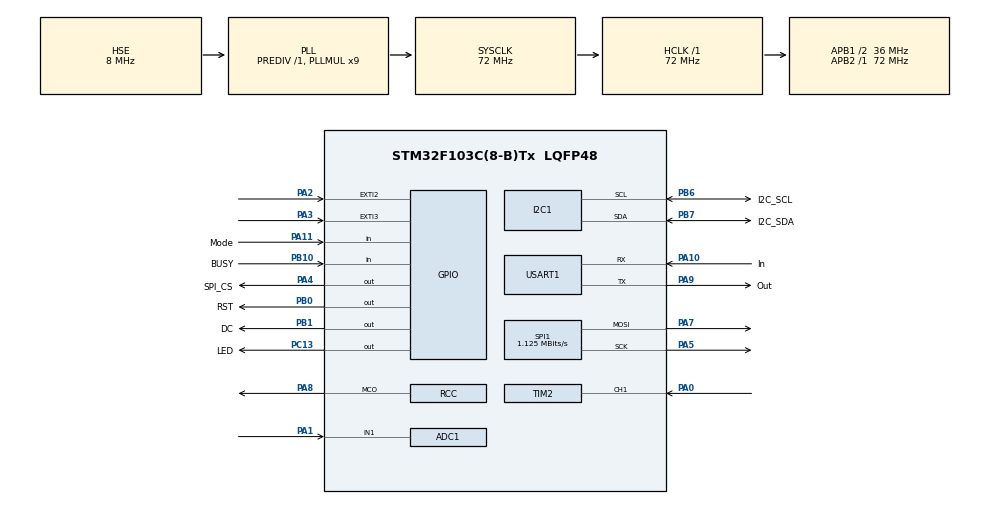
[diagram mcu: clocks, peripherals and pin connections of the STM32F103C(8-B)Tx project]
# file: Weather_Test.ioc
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Mcu.Family=STM32F1
NVIC.ADC1_2_IRQn=true\:0\:0\:false\:false\:true\:true\:true
PA2.GPIO_PuPd=GPIO_PULLDOWN
Dma.ADC1.4.Priority=DMA_PRIORITY_LOW
TIM2.Channel-Input_Capture1_from_TI1=TIM_CHANNEL_1
NVIC.DMA1_Channel5_IRQn=true\:0\:0\:false\:false\:true\:false\:true
SPI1.VirtualType=VM_MASTER
ADC1.ContinuousConvMode=ENABLE
Dma.USART1_TX.3.MemInc=DMA_MINC_ENABLE
Dma.USART1_TX.3.MemDataAlignment=DMA_MDATAALIGN_BYTE
Dma.I2C1_TX.1.Mode=DMA_NORMAL
Dma.USART1_RX.2.Instance=DMA1_Channel5
Dma.USART1_TX.3.Direction=DMA_MEMORY_TO_PERIPH
PA3.GPIO_PuPd=GPIO_PULLDOWN
NVIC.EXTI3_IRQn=true\:6\:0\:true\:false\:true\:true\:true
PB0.GPIO_Label=RST
PB6.GPIO_Label=I2C_SCL
PA11.GPIO_PuPd=GPIO_NOPULL
Dma.ADC1.4.PeriphInc=DMA_PINC_DISABLE
RCC.SYSCLKSource=RCC_SYSCLKSOURCE_PLLCLK
ProjectManager.StackSize=0x400
PD1-OSC_OUT.Signal=RCC_OSC_OUT
Dma.I2C1_TX.1.Direction=DMA_MEMORY_TO_PERIPH
SPI1.Direction=SPI_DIRECTION_2LINES
RCC.HCLKFreq_Value=72000000
RCC.APB2TimFreq_Value=72000000
TIM3.Period=10000
PB6.Signal=I2C1_SCL
Dma.USART1_TX.3.Mode=DMA_NORMAL
Dma.I2C1_RX.0.PeriphDataAlignment=DMA_PDATAALIGN_BYTE
PB6.Mode=I2C
Dma.I2C1_TX.1.PeriphInc=DMA_PINC_DISABLE
SPI1.CalculateBaudRate=1.125 MBits/s
Dma.ADC1.4.Instance=DMA1_Channel1
RCC.AHBFreq_Value=72000000
Dma.I2C1_RX.0.Priority=DMA_PRIORITY_LOW
Dma.I2C1_RX.0.Mode=DMA_NORMAL
RCC.PLLMUL=RCC_PLL_MUL9
PC14-OSC32_IN.Mode=LSE-External-Oscillator
PA14.Mode=Serial_Wire
TIM3.Prescaler=7199
PB1.GPIO_Label=DC
Dma.USART1_TX.3.PeriphInc=DMA_PINC_DISABLE
NVIC.TIM2_IRQn=true\:0\:0\:false\:false\:true\:true\:true
PA10.GPIO_Label=In
PB7.Signal=I2C1_SDA
PA8.Signal=RCC_MCO
Dma.I2C1_RX.0.Direction=DMA_PERIPH_TO_MEMORY
Dma.USART1_TX.3.Instance=DMA1_Channel4
PB7.GPIO_Label=I2C_SDA
Mcu.Package=LQFP48
TIM2.Prescaler=7199
PB1.Signal=GPIO_Output
PA10.Signal=USART1_RX
Dma.ADC1.4.MemInc=DMA_MINC_ENABLE
SH.ADCx_IN1.0=ADC1_IN1,IN1
NVIC.EXTI2_IRQn=true\:6\:0\:true\:false\:true\:true\:true
Dma.Request2=USART1_RX
Dma.Request1=I2C1_TX
RCC.APB1TimFreq_Value=72000000
Dma.Request4=ADC1
Dma.Request3=USART1_TX
NVIC.DMA1_Channel4_IRQn=true\:0\:0\:false\:false\:true\:false\:true
NVIC.USART1_IRQn=true\:5\:0\:true\:false\:true\:true\:true
Dma.Request0=I2C1_RX
SPI1.BaudRatePrescaler=SPI_BAUDRATEPRESCALER_64
PA4.GPIO_Label=SPI_CS
VP_TIM3_VS_ClockSourceINT.Mode=Internal
Dma.USART1_RX.2.MemDataAlignment=DMA_MDATAALIGN_BYTE
PA3.Signal=GPXTI3
PA5.Mode=TX_Only_Simplex_Unidirect_Master
Dma.I2C1_TX.1.PeriphDataAlignment=DMA_PDATAALIGN_BYTE
RCC.PLLSourceVirtual=RCC_PLLSOURCE_HSE
PC15-OSC32_OUT.Mode=LSE-External-Oscillator
NVIC.DMA1_Channel6_IRQn=true\:0\:0\:false\:false\:true\:false\:true
Dma.I2C1_RX.0.PeriphInc=DMA_PINC_DISABLE
Dma.I2C1_RX.0.MemDataAlignment=DMA_MDATAALIGN_BYTE
PA7.Mode=TX_Only_Simplex_Unidirect_Master
PD1-OSC_OUT.Mode=HSE-External-Oscillator
PA10.Mode=Asynchronous
PA9.GPIO_Label=Out
PC13-TAMPER-RTC.Signal=GPIO_Output
PA11.GPIO_Label=Mode
Dma.ADC1.4.PeriphDataAlignment=DMA_PDATAALIGN_HALFWORD
PD0-OSC_IN.Signal=RCC_OSC_IN
RCC.APB1CLKDivider=RCC_HCLK_DIV2
PC14-OSC32_IN.Signal=RCC_OSC32_IN
Dma.USART1_RX.2.PeriphInc=DMA_PINC_DISABLE
PA0-WKUP.Signal=S_TIM2_CH1_ETR
RCC.ADCPresc=RCC_ADCPCLK2_DIV6
PA13.Signal=SYS_JTMS-SWDIO
PA9.Mode=Asynchronous
ProjectManager.TargetToolchain=STM32CubeIDE
PB10.GPIO_Label=BUSY
Dma.USART1_RX.2.Mode=DMA_NORMAL
Dma.USART1_RX.2.PeriphDataAlignment=DMA_PDATAALIGN_BYTE
PA9.Signal=USART1_TX
Dma.USART1_TX.3.PeriphDataAlignment=DMA_PDATAALIGN_BYTE
ADC1.Channel-1\#ChannelRegularConversion=ADC_CHANNEL_1
Dma.I2C1_RX.0.MemInc=DMA_MINC_ENABLE
Dma.I2C1_TX.1.Instance=DMA1_Channel6
RCC.USBFreq_Value=72000000
PC15-OSC32_OUT.Signal=RCC_OSC32_OUT
PA1.Signal=ADCx_IN1
PB10.Signal=GPIO_Input
PD0-OSC_IN.Mode=HSE-External-Oscillator
PA5.Signal=SPI1_SCK
board=custom
Dma.I2C1_TX.1.Priority=DMA_PRIORITY_LOW
PC13-TAMPER-RTC.GPIO_Label=LED
Dma.USART1_RX.2.Priority=DMA_PRIORITY_LOW
NVIC.TIM3_IRQn=true\:0\:0\:false\:false\:true\:true\:true
RCC.APB2Freq_Value=72000000
Dma.USART1_RX.2.Direction=DMA_PERIPH_TO_MEMORY
SPI1.Mode=SPI_MODE_MASTER
Dma.I2C1_TX.1.MemInc=DMA_MINC_ENABLE
RCC.RCC_MCOSource=RCC_MCO1SOURCE_PLLCLK
Dma.ADC1.4.Mode=DMA_CIRCULAR
Dma.I2C1_TX.1.MemDataAlignment=DMA_MDATAALIGN_BYTE
TIM2.Period=40000
PA13.Mode=Serial_Wire
Dma.ADC1.4.MemDataAlignment=DMA_MDATAALIGN_HALFWORD
Mcu.Name=STM32F103C(8-B)Tx
Dma.USART1_RX.2.MemInc=DMA_MINC_ENABLE
PA2.Signal=GPXTI2
Dma.USART1_TX.3.Priority=DMA_PRIORITY_LOW
PA4.Signal=GPIO_Output
ADC1.SamplingTime-1\#ChannelRegularConversion=ADC_SAMPLETIME_239CYCLES_5
RCC.SYSCLKFreq_VALUE=72000000
ADC1.master=1
USART1.VirtualMode=VM_ASYNC
ADC1.Rank-1\#ChannelRegularConversion=1
PB7.Mode=I2C
PA11.Signal=GPIO_Input
SH.S_TIM2_CH1_ETR.0=TIM2_CH1,Input_Capture1_from_TI1
PA14.Signal=SYS_JTCK-SWCLK
ProjectManager.HeapSize=0x200
Dma.ADC1.4.Direction=DMA_PERIPH_TO_MEMORY
PA2.GPIO_ModeDefaultEXTI=GPIO_MODE_IT_RISING
NVIC.PriorityGroup=NVIC_PRIORITYGROUP_4
ADC1.NbrOfConversionFlag=1
PA8.Mode=Clock-out
NVIC.DMA1_Channel7_IRQn=true\:0\:0\:false\:false\:true\:false\:true
NVIC.DMA1_Channel1_IRQn=true\:0\:0\:false\:false\:true\:false\:true
RCC.APB1Freq_Value=36000000
PB0.Signal=GPIO_Output
Dma.I2C1_RX.0.Instance=DMA1_Channel7
PA7.Signal=SPI1_MOSI

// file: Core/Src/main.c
/* USER CODE BEGIN Header */
/**
  ******************************************************************************
  * @file           : main.c
  * @brief          : Main program body
  ******************************************************************************
  * @attention
  *
  * <h2><center>&copy; Copyright (c) 2021 STMicroelectronics.
  * All rights reserved.</center></h2>
  *
  * This software component is licensed by ST under BSD 3-Clause license,
  * the "License"; You may not use this file except in compliance with the
  * License. You may obtain a copy of the License at:
  *                        opensource.org/licenses/BSD-3-Clause
  *
  ******************************************************************************
  */
/* USER CODE END Header */
#include "main.h"
#include "adc.h"
#include "dma.h"
#include "i2c.h"
#include "spi.h"
#include "tim.h"
#include "usart.h"
#include "gpio.h"

/* USER CODE BEGIN Includes */
#include "bmp280.h"
#include "EPD_Test.h"
#include "EPD_2in9_V2.h"
#include<stdio.h>
#include<string.h>
/* USER CODE END Includes */

/* USER CODE BEGIN PM */
#define PULSE_TIME_MS 100
#define SAMPLE_UPDATE_TICK (uint16_t)((0.3)*(1000/PULSE_TIME_MS))
/* USER CODE END PM */

/* USER CODE BEGIN PV */

uint16_t ADC_Value[100];
uint8_t i;
double ad1;
int flag = 0;
char buf[200], buffer[100], aRxBuffer[100] = "";
int buf_length, buffer_length, length;
char *dir = "DIR";

#define BUFFER_SIZE 100 // 缂撳啿鍖哄ぇ�??????????????????????
uint8_t Receive_Buffer[100]; // 涓插彛鎺ユ敹缂撳啿锟??????????????
volatile uint16_t recv_end_flag = 0; // 涓插彛鎺ユ敹瀹屾垚鐨勬爣�??????????????????????
volatile uint8_t rx_length = 0; // 涓插彛鎺ユ敹鐨勬暟鎹殑�????????垮害
uint8_t speed_flag = 0, rain_flag = 0;
int output_flag = 1;
int j = 1;

volatile uint32_t wind_count = 0;
volatile uint32_t last_wind_count = 0;
volatile uint32_t rain_count = 0;
volatile uint32_t last_rain_count = 0;
extern double bmp_280_temperature;
extern double bmp_280_atmospressure;
volatile double speed = 0;

volatile uint16_t sample_cnt = SAMPLE_UPDATE_TICK;
/* USER CODE END PV */

void SystemClock_Config(void);

/* USER CODE BEGIN 0 */
UBYTE *BlackImage;
int EPD_init(void)
{
    if(DEV_Module_Init()!=0){
        return -1;
    }

    printf("e-Paper Init and Clear...\r\n");
	EPD_2IN9_V2_Init();
    EPD_2IN9_V2_Clear();

    //Create a new image cache
    UWORD Imagesize = ((EPD_2IN9_V2_WIDTH % 8 == 0)? (EPD_2IN9_V2_WIDTH / 8 ): (EPD_2IN9_V2_WIDTH / 8 + 1)) * EPD_2IN9_V2_HEIGHT;
    if((BlackImage = (UBYTE *)malloc(Imagesize)) == NULL) {
        printf("Failed to apply for black memory...\r\n");
        return -1;
    }
    printf("Paint_NewImage\r\n");
    Paint_NewImage(BlackImage, EPD_2IN9_V2_WIDTH, EPD_2IN9_V2_HEIGHT, 90, WHITE);
	Paint_Clear(WHITE);

    Paint_NewImage(BlackImage, EPD_2IN9_V2_WIDTH, EPD_2IN9_V2_HEIGHT, 90, WHITE);
    printf("show image for array\r\n");
    Paint_SelectImage(BlackImage);
    Paint_Clear(WHITE);
    Paint_DrawBitMap(gImage_2in9);

    EPD_2IN9_V2_Display(BlackImage);
    DEV_Delay_ms(3000);
	Paint_NewImage(BlackImage, EPD_2IN9_V2_WIDTH, EPD_2IN9_V2_HEIGHT, 90, WHITE);
    printf("Drawing\r\n");
    return 0;
}

int EPD_write(float wind_speed,char* wind_direction, float rain_fall, float temp, float humi, float air_pressure)
{
    char tem[50];
    //1.Select Image
    Paint_SelectImage(BlackImage);
    Paint_Clear(WHITE);

    // 2.Drawing on the image
    printf("Drawing:BlackImage\r\n");

    Paint_DrawString_EN(0, 0,"windspeed(m/s):", &Font20, WHITE, BLACK);
    sprintf(tem,"%.2f",wind_speed);
    Paint_DrawString_EN(205, 0,tem, &Font20, WHITE, BLACK);

    Paint_DrawString_EN(0, 20, "wind direction:", &Font20, WHITE, BLACK);
    Paint_DrawString_EN(210, 20, wind_direction, &Font20, WHITE, BLACK);

    Paint_DrawString_EN(0, 40,"rainfall(mm):", &Font20, WHITE, BLACK);
    sprintf(tem,"%.2f",rain_fall);
    Paint_DrawString_EN(180, 40,tem, &Font20, WHITE, BLACK);

    Paint_DrawString_EN(0, 60, "temperature(c):", &Font20, WHITE, BLACK);
    sprintf(tem,"%.2f",temp);
    Paint_DrawString_EN(210, 60,tem, &Font20, WHITE, BLACK);

    Paint_DrawString_EN(0, 80,"humidity:", &Font20, WHITE, BLACK);
    sprintf(tem,"%.2f",humi);
    Paint_DrawString_EN(120, 80,tem, &Font20, WHITE, BLACK);

    Paint_DrawString_EN(0, 100, "air pres(hPa):", &Font20, WHITE, BLACK);
    sprintf(tem,"%.0f",air_pressure);
    Paint_DrawString_EN(200, 100,tem, &Font20, WHITE, BLACK);

    EPD_2IN9_V2_Display_Base(BlackImage);
    DEV_Delay_ms(3000);
    return 0;
}
/* USER CODE END 0 */

int main(void)
{

  /* MCU Configuration--------------------------------------------------------*/

  /* Reset of all peripherals, Initializes the Flash interface and the Systick. */
  HAL_Init();

  /* Configure the system clock */
  SystemClock_Config();

  /* Initialize all configured peripherals */
  MX_GPIO_Init();
  MX_DMA_Init();
  MX_ADC1_Init();
  MX_USART1_UART_Init();
  MX_I2C1_Init();
  MX_TIM2_Init();
  MX_TIM3_Init();
  MX_SPI1_Init();
  /* USER CODE BEGIN 2 */

	__HAL_UART_ENABLE_IT(&huart1, UART_IT_IDLE); // �??????????????????????鍚覆鍙ｇ┖闂蹭腑锟??????????????
	HAL_ADC_Start_DMA((ADC_HandleTypeDef*)&hadc1, (uint32_t*)ADC_Value, (uint32_t)10); //通道�??1
	bmp280_init();

	HAL_ADC_Start_DMA(&hadc1, &ADC_Value, 100);
	HAL_UART_Transmit_DMA(&huart1, (uint8_t*)"AT+RST\r\n", 8);
	HAL_Delay(3);
	HAL_UART_Transmit_DMA(&huart1, (uint8_t*)"AT+CWMODE=1\r\n", 13);
	HAL_Delay(3);
	HAL_UART_Transmit_DMA(&huart1, (uint8_t*)"AT+CWJAP=\"zjn\",\"13536712286\"\r\n", 31);
	HAL_Delay(3);
	EPD_init();
  /* USER CODE END 2 */

  /* Infinite loop */
  /* USER CODE BEGIN WHILE */
  int i;
  while (1)
  {
    /* USER CODE END WHILE */
	  ad1 = 0;
    /* USER CODE BEGIN 3 */
	bmp280_getTemperature();
	bmp280_getAtmosPressure();
	for(i = 0; i < 100; i++)
		ad1 += ADC_Value[i];
	int tmp = (int)ad1/100;
	switch(tmp)
	{
	case 402:case 401:dir = "W"; break;
	case 199:case 400:dir = "WN"; break;
	case 398:dir = "N"; break;
	case 369:case 368:dir = "S"; break;
	case 295:case 296:case 297:case 298:dir = "E"; break;
	case 385:dir = "EN"; break;
	case 394:dir = "WS"; break;
	case 345:case 346:dir = "ES"; break;
	};
	if(wind_count - last_wind_count >= 0.000001)
	{
		speed = (wind_count - last_wind_count) * 0.34;
	}
	else
	{
		speed = 0;
	}
	buf_length = sprintf(buf, "temperature:%.2f 'C; QNH :%.2fhPa; Wind_Direction: %s; Wind_Speed: %.2f m/s; Rain_Count: %.2f mm; \r\n", bmp_280_temperature, bmp_280_atmospressure / 100,dir, speed, rain_count * 0.33);
	last_wind_count = wind_count;
	EPD_write(speed,dir,rain_count * 0.33,bmp_280_temperature, 0,bmp_280_atmospressure / 100);
	HAL_Delay(100);
	if(output_flag == 1)
	{
		HAL_UART_Transmit_DMA(&huart1, (uint8_t*)"AT+CIPSTART=\"TCP\",\"quan.suning.com\",80\r\n", 40);
		HAL_Delay(100);
		HAL_UART_Transmit_DMA(&huart1, (uint8_t*)"AT+CIPSEND=44\r\n", 15);
		HAL_Delay(100);
		HAL_UART_Receive_DMA(&huart1, Receive_Buffer, BUFFER_SIZE);
		HAL_Delay(1000);
		HAL_UART_Transmit_DMA(&huart1, (uint8_t*)"GET http://quan.suning.com/getSysTime.do\r\n", 44);
		if(recv_end_flag == 1)
		{
			char* addr = strstr(Receive_Buffer, "\"sysTime1\"");
			if(addr != NULL)
			{
				for(int k = 0; k < strlen(addr); k++)
				{
					if(addr[k] == '}')
					{
						addr[k] = '\0';
						break;
					}
				}
				length = sprintf(aRxBuffer, "%s\r\n", addr);
			}
			else
			{
				length = 1;
			}
			for(int i = 0; i < rx_length ; i++) //清空接收缓存�??
							Receive_Buffer[i]=0;
		}

		HAL_Delay(500);
		HAL_UART_Transmit_DMA(&huart1, (uint8_t*)"AT+CIPSTART=\"TCP\",\"192.168.43.47\",12345\r\n", 41);
		HAL_Delay(100);
		HAL_UART_Transmit_DMA(&huart1, (uint8_t*)"AT+CWMODE=1\r\n", 13);
		HAL_Delay(100);
		buffer_length = sprintf(buffer, "AT+CIPSEND=%d\r\n", length);
		HAL_UART_Transmit_DMA(&huart1, (uint8_t*)buffer, buffer_length);
		HAL_Delay(1000);
		HAL_UART_Transmit_DMA(&huart1, (uint8_t*)aRxBuffer, length);
		HAL_Delay(1000);
		buffer_length = sprintf(buffer, "AT+CIPSEND=%d\r\n", buf_length);
		HAL_UART_Transmit_DMA(&huart1, (uint8_t*)buffer, buffer_length);
		HAL_Delay(1000);
		HAL_UART_Transmit_DMA(&huart1, (uint8_t*)buf, buf_length);
		HAL_Delay(1000);
		HAL_UART_Transmit_DMA(&huart1, (uint8_t*)"AT+CIPCLOSE\r\n", 13);
		HAL_Delay(100);
		output_flag = 0;
	}
	j--;
	if(j <= 0)
	{
		output_flag = 1;
		j = 1;
	}
	HAL_Delay(PULSE_TIME_MS);
  }
  /* USER CODE END 3 */
}

void SystemClock_Config(void)
{
  RCC_OscInitTypeDef RCC_OscInitStruct = {0};
  RCC_ClkInitTypeDef RCC_ClkInitStruct = {0};
  RCC_PeriphCLKInitTypeDef PeriphClkInit = {0};

  /** Initializes the RCC Oscillators according to the specified parameters
  * in the RCC_OscInitTypeDef structure.
  */
  RCC_OscInitStruct.OscillatorType = RCC_OSCILLATORTYPE_HSE;
  RCC_OscInitStruct.HSEState = RCC_HSE_ON;
  RCC_OscInitStruct.HSEPredivValue = RCC_HSE_PREDIV_DIV1;
  RCC_OscInitStruct.HSIState = RCC_HSI_ON;
  RCC_OscInitStruct.PLL.PLLState = RCC_PLL_ON;
  RCC_OscInitStruct.PLL.PLLSource = RCC_PLLSOURCE_HSE;
  RCC_OscInitStruct.PLL.PLLMUL = RCC_PLL_MUL9;
  if (HAL_RCC_OscConfig(&RCC_OscInitStruct) != HAL_OK)
  {
    Error_Handler();
  }
  /** Initializes the CPU, AHB and APB buses clocks
  */
  RCC_ClkInitStruct.ClockType = RCC_CLOCKTYPE_HCLK|RCC_CLOCKTYPE_SYSCLK
                              |RCC_CLOCKTYPE_PCLK1|RCC_CLOCKTYPE_PCLK2;
  RCC_ClkInitStruct.SYSCLKSource = RCC_SYSCLKSOURCE_PLLCLK;
  RCC_ClkInitStruct.AHBCLKDivider = RCC_SYSCLK_DIV1;
  RCC_ClkInitStruct.APB1CLKDivider = RCC_HCLK_DIV2;
  RCC_ClkInitStruct.APB2CLKDivider = RCC_HCLK_DIV1;

  if (HAL_RCC_ClockConfig(&RCC_ClkInitStruct, FLASH_LATENCY_2) != HAL_OK)
  {
    Error_Handler();
  }
  PeriphClkInit.PeriphClockSelection = RCC_PERIPHCLK_ADC;
  PeriphClkInit.AdcClockSelection = RCC_ADCPCLK2_DIV6;
  if (HAL_RCCEx_PeriphCLKConfig(&PeriphClkInit) != HAL_OK)
  {
    Error_Handler();
  }
  HAL_RCC_MCOConfig(RCC_MCO, RCC_MCO1SOURCE_PLLCLK, RCC_MCODIV_1);
}

void Error_Handler(void)
{
  __disable_irq();
  while (1)
  {
  }
}

/************************ (C) COPYRIGHT STMicroelectronics *****END OF FILE****/
